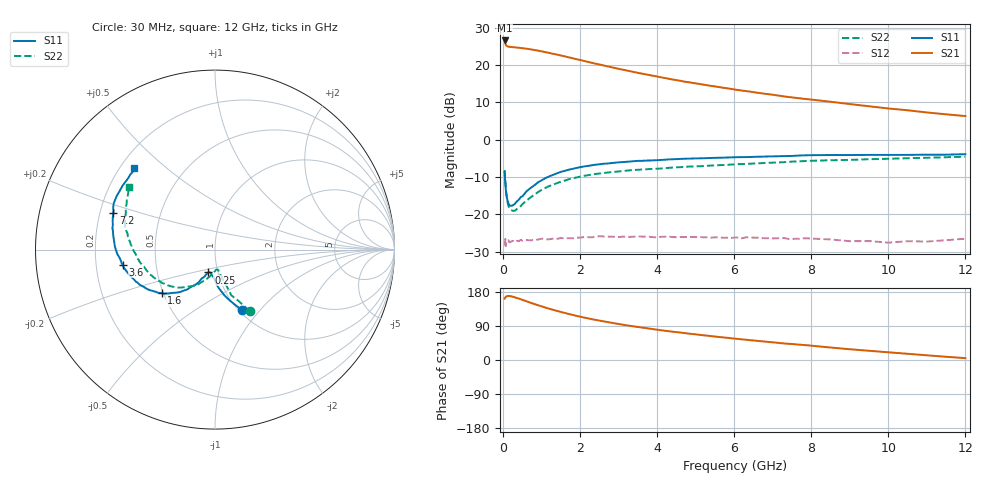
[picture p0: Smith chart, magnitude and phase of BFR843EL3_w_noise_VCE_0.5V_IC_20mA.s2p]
! Infineon Technologies  Discrete & RF Semiconductors
! BFR843EL3
! VCE =  0.5 V,  IC =  20 mA
! Common Emitter S-Parameters:  Aug 2013
# GHz  S  MA  R  50
!  f  S11  S21  S12  S22
! GHz  MAG  ANG  MAG  ANG  MAG  ANG  MAG  ANG
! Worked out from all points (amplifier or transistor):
!   103 points, 30 MHz to 12 GHz, reference 50 ohm
!   highest |S21| = 26.6 dB at 30 MHz (marker M1)
!   |S21| within 3 dB of that: start of sweep to 1.026 GHz
!   unconditionally stable (mu >= 1): 144.4 MHz to 335.4 MHz; 4.7 GHz to end of sweep
!   at 400 MHz: K = 1.00, MSG = 25.9 dB, |S12| = -27.2 dB
!   at 3.7 GHz: K = 0.90, MSG = 21.8 dB, |S12| = -26.0 dB
!   at 12 GHz: K = 2.13, MAG = 10.4 dB, |S12| = -26.5 dB
!   lowest NFmin = 1.09 dB at 900 MHz
!   S11 on the Smith chart (normalised r, x): 30 MHz: 1.03, -0.81; 250 MHz: 0.90, -0.23; 1.6 GHz: 0.49, -0.28; 3.6 GHz: 0.32, -0.07; 7.2 GHz: 0.26, +0.16; 12 GHz: 0.26, +0.39
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0.03  0.3687 -66.0  21.45 162.0  0.0384 26.3  0.3936 -60.4
0.04  0.3004 -73.2  20.11 163.4  0.042 22.5  0.3125 -65.6
0.06  0.2169 -84.2  18.73 166.3  0.0374 13.0  0.224 -71.9
0.08  0.1809 -88.5  18.2 167.9  0.0425 11.0  0.1801 -75.2
0.1  0.1562 -92.4  17.93 168.7  0.0436 10.0  0.154 -76.5
0.15  0.1326 -98.8  17.65 169.0  0.0421 7.3  0.1236 -79.6
0.25  0.1323 -106.0  17.42 166.8  0.0441 3.9  0.111 -83.5
0.6  0.2037 -116.5  16.62 154.8  0.0452 5.1  0.1526 -100.9
0.9  0.2689 -124.6  15.65 144.5  0.0459 5.5  0.199 -113.2
1.2  0.3247 -132.3  14.55 135.0  0.0463 4.8  0.2405 -121.9
1.6  0.3837 -140.9  13.09 124.0  0.0474 5.7  0.2837 -131.7
2.1  0.4391 -150.2  11.38 111.9  0.0496 5.6  0.3284 -142.6
2.4  0.4639 -155.2  10.46 105.7  0.0504 4.1  0.348 -147.6
2.9  0.4924 -162.4  9.148 96.6  0.05 4.2  0.372 -154.9
3.6  0.5212 -170.8  7.693 85.6  0.0503 3.5  0.399 -163.3
4.1  0.5364 -175.7  6.862 78.5  0.0499 3.5  0.4115 -167.7
5.1  0.5633 175.5  5.584 66.3  0.0496 4.1  0.4416 -176.5
6.1  0.584 168.0  4.643 55.5  0.0489 3.2  0.4706 176.5
7.2  0.6022 160.4  3.87 44.5  0.0478 4.7  0.4974 169.3
8.5  0.6238 151.4  3.23 32.9  0.046 3.9  0.5311 160.7
10.5  0.6265 140.5  2.483 16.4  0.0436 12.9  0.5655 150.2
12  0.6403 134.8  2.077 4.9  0.0471 22.2  0.5928 143.8
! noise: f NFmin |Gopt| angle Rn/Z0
0.45  1.1  0.09  143  0.13
0.9  1.09  0.1  141  0.12
1.5  1.11  0.11  142  0.11
1.9  1.12  0.11  145  0.11
2.4  1.13  0.12  148  0.1
3.5  1.15  0.15  156  0.1
5.5  1.18  0.21  176  0.1
8  1.22  0.32  197  0.08
10  1.25  0.45  220  0.08
